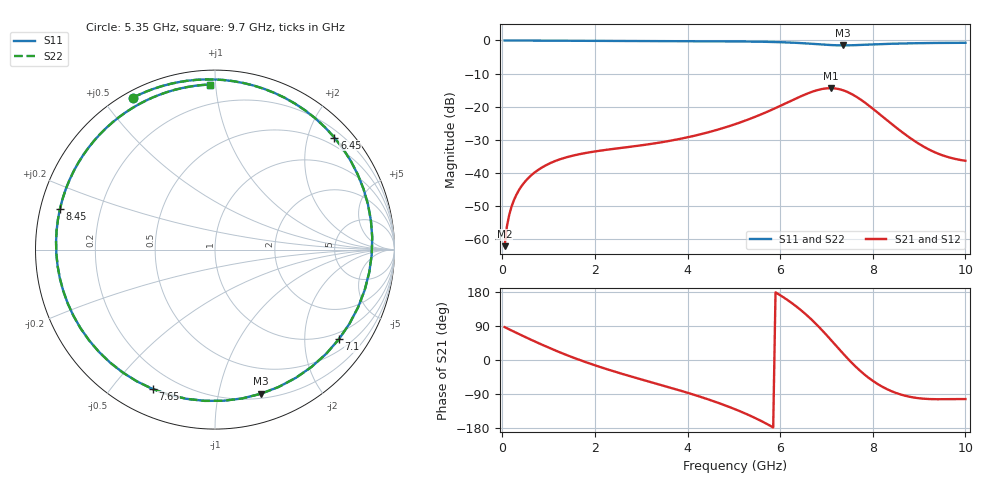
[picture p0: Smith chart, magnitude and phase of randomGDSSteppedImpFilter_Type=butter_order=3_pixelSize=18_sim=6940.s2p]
! freq	dB(S11)	phase(S11)	dB(S12)	phase(S12)
!  dB(S21)	phase(S21)	dB(S22)	phase(S22)
!S-par simulation data
#  GHz  S  DB  R 50
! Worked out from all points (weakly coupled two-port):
!   200 points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, 50 MHz to 10 GHz, reference 50 ohm
!   highest |S21| = -14.41 dB at 7.1 GHz (marker M1); lowest = -62.1 dB at 50 MHz (marker M2)
!   lowest |S11| = -1.5 dB at 7.35 GHz (marker M3), VSWR 11.72, Z = 12.1 - j66.9 ohm
!   |S11| at or under -10 dB: nowhere
!   |S22| runs from -1.5 to 0.0 dB; largest |S21 - S12| = 0
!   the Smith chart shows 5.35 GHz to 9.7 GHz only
!   S11 on the Smith chart (normalised r, x): 5.35 GHz: 0.03, +0.59; 6.45 GHz: 0.33, +2.49; 7.1 GHz: 0.79, -2.89; 7.65 GHz: 0.11, -0.64; 8.45 GHz: 0.06, +0.13; 9.7 GHz: 0.08, +0.96
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0.05  -0.00 -3.0  -62.11 86.8  -62.11 86.8  -0.00 -3.0
0.2  -0.02 -11.9  -50.16 77.9  -50.16 77.9  -0.02 -11.9
0.5  -0.04 -29.5  -42.48 60.3  -42.48 60.3  -0.04 -29.5
1.1  -0.08 -62.8  -36.64 27.6  -36.64 27.6  -0.08 -62.8
1.75  -0.11 -95.2  -34.11 -3.4  -34.11 -3.4  -0.11 -95.2
2.6  -0.14 -131.9  -32.39 -37.0  -32.39 -37.0  -0.14 -131.9
3.4  -0.16 -162.7  -30.83 -65.0  -30.83 -65.0  -0.16 -162.7
4.25  -0.21 165.5  -28.43 -96.0  -28.43 -96.0  -0.21 165.5
5.05  -0.29 132.7  -25.18 -131.1  -25.18 -131.1  -0.29 132.7
5.35  -0.33 118.5  -23.66 -146.8  -23.66 -146.8  -0.33 118.5
5.95  -0.50 83.8  -20.10 174.8  -20.10 174.8  -0.50 83.7
6.45  -0.80 43.2  -16.85 131.4  -16.85 131.4  -0.80 43.1
6.7  -1.02 16.6  -15.44 104.1  -15.44 104.1  -1.02 16.5
7.1  -1.39 -36.0  -14.41 52.5  -14.41 52.5  -1.39 -36.1
7.35  -1.49 -72.4  -15.00 18.2  -15.00 18.2  -1.48 -72.5
7.65  -1.40 -114.2  -17.04 -19.8  -17.04 -19.8  -1.40 -114.3
8  -1.20 -154.9  -20.59 -54.9  -20.59 -54.9  -1.20 -155.0
8.35  -1.02 173.2  -24.56 -79.4  -24.56 -79.4  -1.02 173.1
8.45  -0.98 165.4  -25.69 -84.5  -25.69 -84.5  -0.98 165.3
9.05  -0.81 126.0  -31.66 -101.6  -31.66 -101.6  -0.81 125.9
9.7  -0.72 91.9  -35.50 -103.2  -35.50 -103.2  -0.72 91.8
10  -0.71 77.7  -36.33 -103.1  -36.33 -103.1  -0.71 77.7
